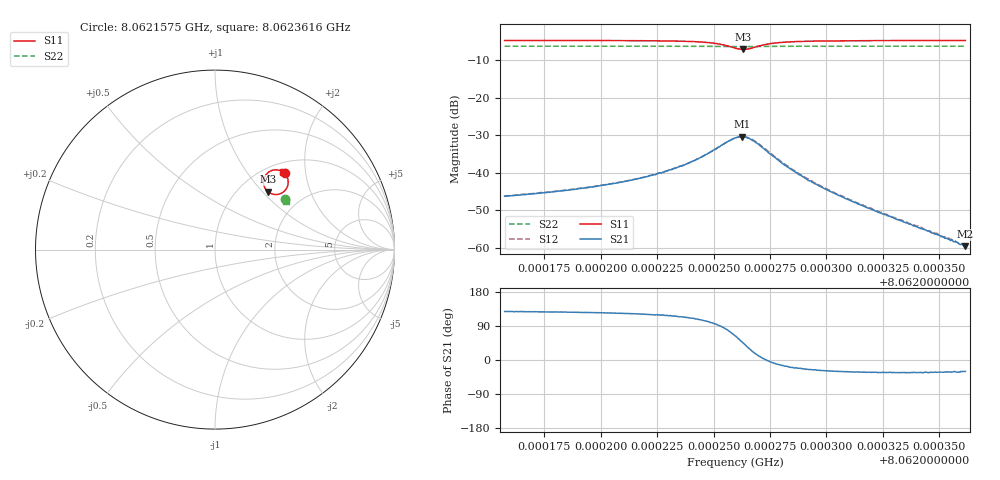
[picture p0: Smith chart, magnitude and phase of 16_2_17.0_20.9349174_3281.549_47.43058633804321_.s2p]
#  HZ  S  RI  R  50.00
! Rohde & Schwarz Vector Network Analyzer
! Rohde-Schwarz,ZNB20-2Port,1311601062101988,3.16
! Created: UTC 3/20/2024, 10:52:47 PM
! freq[Hz]  re:S11  im:S11  re:S21  im:S21  re:S12  im:S12  re:S22  im:S22
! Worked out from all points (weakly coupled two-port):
!   401 points, 8.0621575 GHz to 8.0623616 GHz, reference 50 ohm
!   highest |S21| = -30.39 dB at 8.0622626 GHz (marker M1); lowest = -59.5 dB at 8.0623616 GHz (marker M2)
!   lowest |S11| = -7.2 dB at 8.0622631 GHz (marker M3), VSWR 2.55, Z = 67.2 + j53.6 ohm
!   |S11| at or under -10 dB: nowhere
!   |S22| runs from -6.4 to -6.3 dB; largest |S21 - S12| = 0.0012
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8.06215747e9  0.3882 0.4243  -0.00301 0.00385  -0.00278 0.00406  0.3916 0.2818
8.06217839e9  0.3915 0.4207  -0.00334 0.00448  -0.00308 0.00468  0.3923 0.2806
8.06219166e9  0.394 0.4175  -0.00361 0.00507  -0.00334 0.0053  0.3927 0.2798
8.06221258e9  0.399 0.4096  -0.00425 0.00664  -0.0039 0.00694  0.3936 0.2785
8.06222584e9  0.4034 0.4004  -0.00487 0.00867  -0.00426 0.00891  0.3939 0.2775
8.06223605e9  0.407 0.3872  -0.00501 0.0114  -0.00429 0.0116  0.3942 0.2763
8.06224268e9  0.4078 0.3728  -0.00464 0.0145  -0.0039 0.0146  0.3941 0.2755
8.06225289e9  0.3921 0.3318  0.000104 0.0225  0.00117 0.0225  0.3933 0.2736
8.06225952e9  0.3374 0.3067  0.0124 0.0263  0.0133 0.0258  0.391 0.2729
8.06226258e9  0.2999 0.3191  0.0203 0.0224  0.021 0.022  0.3896 0.2737
8.06226309e9  0.2944 0.3231  0.0212 0.0214  0.022 0.021  0.3895 0.274
8.06226514e9  0.2774 0.3447  0.0242 0.0161  0.025 0.0157  0.389 0.275
8.06226769e9  0.2701 0.375  0.025 0.00929  0.0256 0.00888  0.3892 0.2764
8.06227126e9  0.2786 0.4089  0.022 0.00252  0.0228 0.00155  0.3902 0.2776
8.06227483e9  0.2946 0.4284  0.018 -0.00132  0.0186 -0.00215  0.3913 0.278
8.06228453e9  0.3289 0.4437  0.0104 -0.0037  0.0105 -0.00433  0.3933 0.2778
8.06229371e9  0.3463 0.4441  0.0067 -0.00324  0.00684 -0.00373  0.3942 0.2769
8.06230902e9  0.3611 0.4409  0.00387 -0.00229  0.0038 -0.00257  0.3953 0.2758
8.0623279e9  0.3704 0.4373  0.00225 -0.00144  0.00216 -0.0016  0.3962 0.2748
8.06235443e9  0.3773 0.4331  0.00111 -0.000684  0.00108 -0.000794  0.3973 0.2733
8.06235852e9  0.3781 0.4327  0.000984 -0.000605  0.000938 -0.000664  0.3976 0.273
8.06236158e9  0.3788 0.4324  0.000918 -0.000532  0.000905 -0.000614  0.3975 0.273
